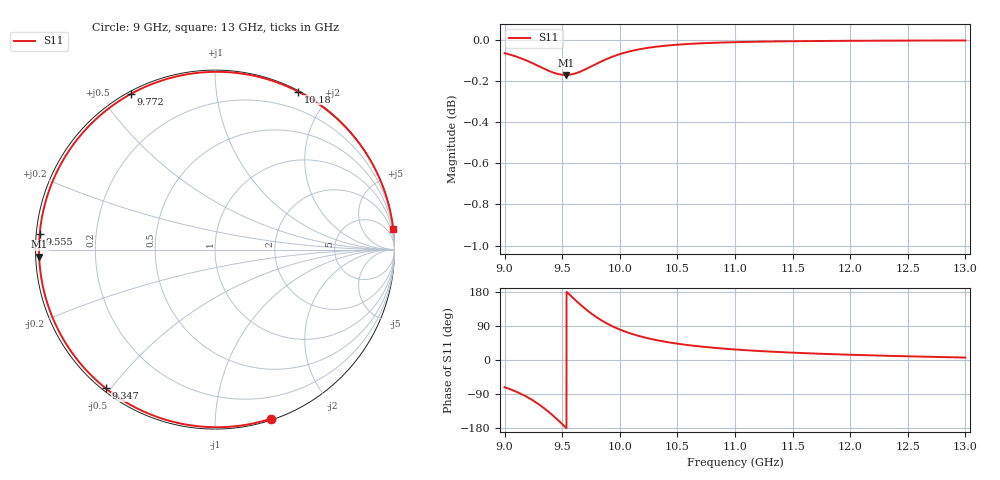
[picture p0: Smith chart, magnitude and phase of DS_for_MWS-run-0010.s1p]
! TOUCHSTONE file generated by CST DESIGN STUDIO
! Date and time: Tue Feb  4 15:48:38 2025
! Project name: C:\Work\MatlabApps\UnitCellOptimizationMatlab\CST\unitcell.cst
! Tree item: Tasks\Sweep1\SPara1\S-Parameters
! Header version: 2024
! Port assignment regex: !\s*Touchstone port\s*([0-9]+)\s*=\s*(CST MWS port|CST DES external port|CST DES block port)\s*(.+)\s* \(\"(.*)\"\)(\s*mode\s*([0-9]+))?.*
! Touchstone port assignment:
! Touchstone port 1 = CST DES external port 1 ("")
# GHz S MA R 50
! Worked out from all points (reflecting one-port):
!   4001 points, 9 GHz to 13 GHz, reference 50 ohm
!   lowest |S11| = -0.2 dB at 9.53 GHz (marker M1), VSWR 101.73, Z = 0.492 - j0.994 ohm
!   phase of S11 starts at -72 deg and turns -282 deg over the sweep
!   S11 on the Smith chart (normalised r, x): 9 GHz: 0.01, -1.38; 9.347 GHz: 0.01, -0.49; 9.555 GHz: 0.01, +0.04; 9.772 GHz: 0.01, +0.60; 10.18 GHz: 0.01, +1.66; 13 GHz: 0, +18
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9  0.9926 -71.8
9.097  0.9907 -83.1
9.204  0.9881 -99.2
9.279  0.9859 -113.2
9.347  0.9838 -128.2
9.419  0.9819 -146.4
9.461  0.9811 -157.9
9.5  0.9806 -169.0
9.53  0.9805 -177.7
9.555  0.9806 175.0
9.609  0.9813 159.5
9.67  0.9827 142.9
9.721  0.9842 130.1
9.772  0.9859 118.4
9.82  0.9874 108.6
9.873  0.9889 99.0
9.932  0.9905 89.6
10  0.992 80.4
10.086  0.9936 70.8
10.18  0.9948 62.2
10.326  0.9962 52.0
10.5  0.9973 43.1
10.721  0.9981 35.0
11  0.9987 27.8
11.5  0.9992 19.3
12  0.9994 13.8
12.5  0.9996 9.7
13  0.9996 6.4
